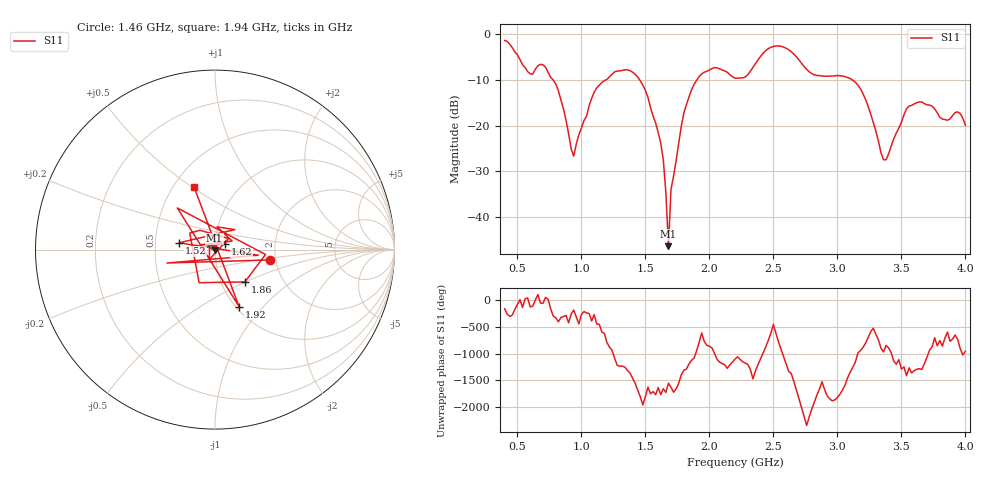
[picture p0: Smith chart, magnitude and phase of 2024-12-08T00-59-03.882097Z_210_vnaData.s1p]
!Created with skrf (http://scikit-rf.org).
# Hz S RI R 50.0
!freq ReS11 ImS11
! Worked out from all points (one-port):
!   181 points, 400 MHz to 4 GHz, reference 50 ohm
!   lowest |S11| = -46.5 dB at 1.68 GHz (marker M1), VSWR 1.01, Z = 49.8 - j0.423 ohm
!   |S11| at or under -10 dB: 779.6 MHz to 1.19 GHz (410.6 MHz wide, 41.7 % of centre); 1.456 GHz to 1.902 GHz (446.6 MHz wide, 26.6 % of centre); 3.117 GHz to end of sweep
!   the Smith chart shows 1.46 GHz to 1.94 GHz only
!   S11 on the Smith chart (normalised r, x): 1.46 GHz: 1.86, -0.24; 1.52 GHz: 0.67, +0.05; 1.62 GHz: 1.12, +0.07; 1.86 GHz: 1.29, -0.50; 1.92 GHz: 1.04, -0.75; 1.94 GHz: 0.63, +0.51
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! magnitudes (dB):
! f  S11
! 400 MHz  -1.3
! 600 MHz  -8.7
! 720 MHz  -7.2
! 860 MHz  -16.4
! 940 MHz  -26.7
! 1.1 GHz  -12.7
! 1.3 GHz  -8.0
! 1.46 GHz  -10.2
! 1.52 GHz  -13.8
! 1.62 GHz  -23.9
! 1.66 GHz  -34.8
! 1.68 GHz  -46.5
! 1.7 GHz  -34.0
! 1.76 GHz  -24.0
! 1.86 GHz  -12.2
! 1.92 GHz  -9.3
! 1.94 GHz  -8.7
! 2.2 GHz  -9.6
! 2.48 GHz  -2.8
! 2.66 GHz  -4.3
! 2.82 GHz  -8.9
! 3.1 GHz  -9.7
! 3.22 GHz  -14.3
! 3.36 GHz  -27.5
! 3.56 GHz  -15.7
! 3.86 GHz  -18.8
! 3.94 GHz  -17.0
! 4 GHz  -19.9
